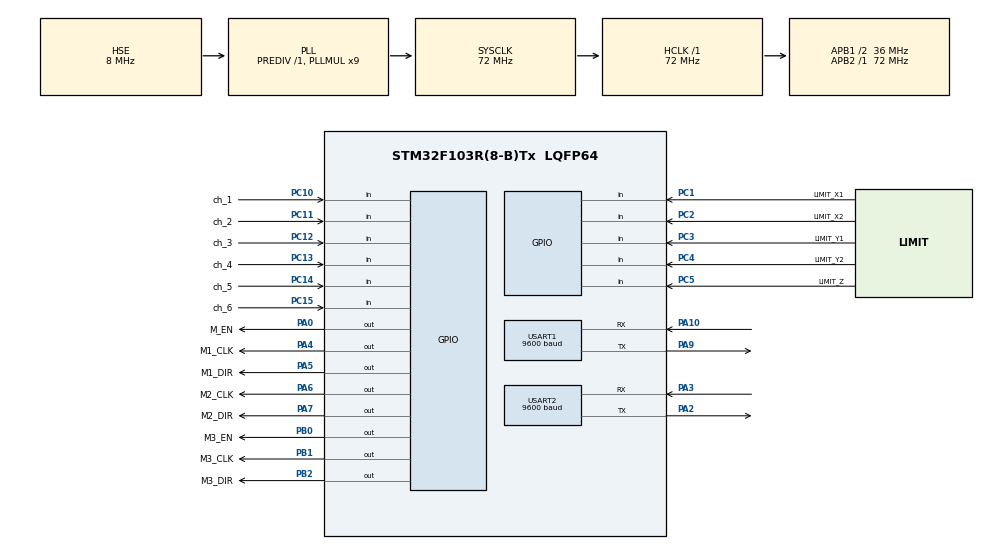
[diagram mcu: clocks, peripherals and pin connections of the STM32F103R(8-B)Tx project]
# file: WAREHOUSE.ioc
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Mcu.Family=STM32F1
Mcu.Name=STM32F103R(8-B)Tx
Mcu.Package=LQFP64
NVIC.PriorityGroup=NVIC_PRIORITYGROUP_4
NVIC.USART1_IRQn=true\:0\:0\:false\:false\:true\:true\:true
NVIC.USART2_IRQn=true\:0\:0\:false\:false\:true\:true\:true
PA0-WKUP.GPIO_Label=M_EN
PA0-WKUP.GPIO_Speed=GPIO_SPEED_FREQ_HIGH
PA0-WKUP.Signal=GPIO_Output
PA10.Mode=Asynchronous
PA10.Signal=USART1_RX
PA13.Mode=Serial_Wire
PA13.Signal=SYS_JTMS-SWDIO
PA14.Mode=Serial_Wire
PA14.Signal=SYS_JTCK-SWCLK
PA2.Mode=Asynchronous
PA2.Signal=USART2_TX
PA3.Mode=Asynchronous
PA3.Signal=USART2_RX
PA4.GPIO_Label=M1_CLK
PA4.GPIO_Speed=GPIO_SPEED_FREQ_HIGH
PA4.Signal=GPIO_Output
PA5.GPIO_Label=M1_DIR
PA5.GPIO_Speed=GPIO_SPEED_FREQ_HIGH
PA5.Signal=GPIO_Output
PA6.GPIO_Label=M2_CLK
PA6.GPIO_Speed=GPIO_SPEED_FREQ_HIGH
PA6.Signal=GPIO_Output
PA7.GPIO_Label=M2_DIR
PA7.GPIO_Speed=GPIO_SPEED_FREQ_HIGH
PA7.Signal=GPIO_Output
PA9.Mode=Asynchronous
PA9.Signal=USART1_TX
PB0.GPIO_Label=M3_EN
PB0.GPIO_Speed=GPIO_SPEED_FREQ_HIGH
PB0.Signal=GPIO_Output
PB1.GPIO_Label=M3_CLK
PB1.GPIO_Speed=GPIO_SPEED_FREQ_HIGH
PB1.Signal=GPIO_Output
PB2.GPIO_Label=M3_DIR
PB2.GPIO_Speed=GPIO_SPEED_FREQ_HIGH
PB2.Signal=GPIO_Output
PC1.GPIO_Label=LIMIT_X1
PC1.GPIO_PuPd=GPIO_PULLUP
PC1.Signal=GPIO_Input
PC10.GPIO_Label=ch_1
PC10.Signal=GPIO_Input
PC11.GPIO_Label=ch_2
PC11.Signal=GPIO_Input
PC12.GPIO_Label=ch_3
PC12.Signal=GPIO_Input
PC13-TAMPER-RTC.GPIO_Label=ch_4
PC13-TAMPER-RTC.Signal=GPIO_Input
PC14-OSC32_IN.GPIO_Label=ch_5
PC14-OSC32_IN.Signal=GPIO_Input
PC15-OSC32_OUT.GPIO_Label=ch_6
PC15-OSC32_OUT.Signal=GPIO_Input
PC2.GPIO_Label=LIMIT_X2
PC2.GPIO_PuPd=GPIO_PULLUP
PC2.Signal=GPIO_Input
PC3.GPIO_Label=LIMIT_Y1
PC3.GPIO_PuPd=GPIO_PULLUP
PC3.Signal=GPIO_Input
PC4.GPIO_Label=LIMIT_Y2
PC4.GPIO_PuPd=GPIO_PULLUP
PC4.Signal=GPIO_Input
PC5.GPIO_Label=LIMIT_Z
PC5.GPIO_PuPd=GPIO_PULLUP
PC5.Signal=GPIO_Input
PD0-OSC_IN.Mode=HSE-External-Oscillator
PD0-OSC_IN.Signal=RCC_OSC_IN
PD1-OSC_OUT.Mode=HSE-External-Oscillator
PD1-OSC_OUT.Signal=RCC_OSC_OUT
ProjectManager.HeapSize=0x200
ProjectManager.StackSize=0x400
ProjectManager.TargetToolchain=TrueSTUDIO
RCC.AHBFreq_Value=72000000
RCC.APB1CLKDivider=RCC_HCLK_DIV2
RCC.APB1Freq_Value=36000000
RCC.APB1TimFreq_Value=72000000
RCC.APB2Freq_Value=72000000
RCC.APB2TimFreq_Value=72000000
RCC.HCLKFreq_Value=72000000
RCC.PLLMUL=RCC_PLL_MUL9
RCC.PLLSourceVirtual=RCC_PLLSOURCE_HSE
RCC.SYSCLKFreq_VALUE=72000000
RCC.SYSCLKSource=RCC_SYSCLKSOURCE_PLLCLK
RCC.USBFreq_Value=72000000
USART1.BaudRate=9600
USART1.VirtualMode=VM_ASYNC
USART2.BaudRate=9600
USART2.VirtualMode=VM_ASYNC
board=custom

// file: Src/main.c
/* USER CODE BEGIN Header */
/**
  ******************************************************************************
  * @file           : main.c
  * @brief          : Main program body
  ******************************************************************************
  * @attention
  *
  * <h2><center>&copy; Copyright (c) 2019 STMicroelectronics.
  * All rights reserved.</center></h2>
  *
  * This software component is licensed by ST under BSD 3-Clause license,
  * the "License"; You may not use this file except in compliance with the
  * License. You may obtain a copy of the License at:
  *                        opensource.org/licenses/BSD-3-Clause
  *
  ******************************************************************************
  */
/* USER CODE END Header */

#include "main.h"
#include "usart.h"
#include "gpio.h"

/* USER CODE BEGIN Includes */
#define my_usart_LIB_en// 조건식 컴파일러

#include "my_lib\my_gpio_lib.h"
#include "my_lib\my_uart_lib.h"

/* USER CODE END Includes */

/* USER CODE BEGIN PD */
#define cw1 1
#define ccw1 0

/* USER CODE END PD */

/* USER CODE BEGIN PV */
unsigned char sensor1,sensor2,sensor3,sensor4,sensor5,sensor6;
unsigned int BI;
unsigned int BI1;
unsigned int BI2;
unsigned char Final_sensor;
unsigned int speed;
char buf = 0;
uint16_t speed_control;
uint16_t step_z;
char x1, x2, y1, y2, z;
uint16_t step_control;
int step;
int cnt123;
uint8_t Bluetooth;

uint8_t lens;
/* USER CODE END PV */

void SystemClock_Config(void);
/* USER CODE BEGIN PFP */

void sensor_check (void)
{
	BI = (0xfc00&(byte_rd_H(GPIOC)));
	BI1 = BI >> 10;
	BI2 = (0x3f & BI1);
	sensor6 = BI2/32%2;
    sensor5 = BI2/16%2;
    sensor4 = BI2/8%2;
    sensor3 = BI2/4%2;
    sensor2 = BI2/2%2;
    sensor1 = BI2%2;
    /*tx("s", 2);
	tx_send(',', 2);
	tx_send(sensor1 + 0x30, 2);       //5번센서
	tx_send(',', 2);
	tx_send(sensor2 + 0x30, 2);       //4번센서
	tx_send(',', 2);
	tx_send(sensor3 + 0x30, 2);       //3번센서
	tx_send(',', 2);
	tx_send(sensor4 + 0x30, 2);       //2번센서
	tx_send(',', 2);
	tx_send(sensor5 + 0x30, 2);       //1번센서
	tx("\r\n", 2);*/

}

void X_go(uint16_t speed_control, uint16_t step_control)// AGV전진 , step_max 몇바퀴 돌껀지 최소 2STEP으로 설정, 약 1mm
{												  // speed_control = 8000 커질수록 느려짐
	int step;

 	 // moter direction
 	out_port(M1_DIR_GPIO_Port,M1_DIR_Pin, cw1); // m1
 	out_port(M2_DIR_GPIO_Port,M2_DIR_Pin, cw1); // m2
 	if(HAL_GPIO_ReadPin(LIMIT_X2_GPIO_Port, LIMIT_X2_Pin) == 1)
 	{
 		for(step=1; step <= step_control; step++)
		{
	      out_port(M1_CLK_GPIO_Port, M1_CLK_Pin, 1);
	      //out_port(M2_CLK_GPIO_Port, M2_CLK_Pin, 1);
	      for(speed =0; speed <= speed_control; speed++) // delay 같은 기능을 한다.
	      {
	    	// delay_loop = 10000 = 대략 = 1ms
	    	// 최소 값 = 1250 = 대략 125us
	        asm("nop");
	      }
	      out_port(M1_CLK_GPIO_Port, M1_CLK_Pin, 0);
	      //out_port(M2_CLK_GPIO_Port, M2_CLK_Pin, 0);
	      // delay_ms(1);
	      for(speed =0; speed <= speed_control; speed++)
	       {
	         asm("nop");
	       }
		}
 	}
}
void Y_go(uint16_t speed_control, uint16_t step_control)// AGV전진 , step_max 몇바퀴 돌껀지 최소 2STEP으로 설정, 약 1mm
{												  // speed_control = 8000 커질수록 느려짐
	int step;

 	 // moter direction
 	out_port(M1_DIR_GPIO_Port,M1_DIR_Pin, cw1); // m1
 	out_port(M2_DIR_GPIO_Port,M2_DIR_Pin, cw1); // m2
 	//if(HAL_GPIO_ReadPin(LIMIT_Y1_GPIO_Port, LIMIT_Y1_Pin) == 1)
 	//{
 		for(step=1; step <= step_control; step++)
		{
	      //out_port(M1_CLK_GPIO_Port, M1_CLK_Pin, 1);
	      out_port(M2_CLK_GPIO_Port, M2_CLK_Pin, 1);
	      for(speed =0; speed <= speed_control; speed++) // delay 같은 기능을 한다.
	      {
	    	// delay_loop = 10000 = 대략 = 1ms
	    	// 최소 값 = 1250 = 대략 125us
	        asm("nop");
	      }
	      //out_port(M1_CLK_GPIO_Port, M1_CLK_Pin, 0);
	      out_port(M2_CLK_GPIO_Port, M2_CLK_Pin, 0);
	      // delay_ms(1);
	      for(speed =0; speed <= speed_control; speed++)
	       {
	         asm("nop");
	       }
		}
 	//}
}
void Z_go(uint16_t speed_control, uint16_t step_control)// AGV전진 , step_max 몇바퀴 돌껀지 최소 2STEP으로 설정, 약 1mm
{												  // speed_control = 8000 커질수록 느려짐
	int step;

 	 // moter direction
 	out_port(M3_DIR_GPIO_Port,M3_DIR_Pin, cw1); // m1
 	//out_port(M2_DIR_GPIO_Port,M2_DIR_Pin, cw1); // m2

 		for(step=1; step <= step_control; step++)
		{
	      out_port(M3_CLK_GPIO_Port, M3_CLK_Pin, 1);
	      for(speed =0; speed <= speed_control; speed++) // delay 같은 기능을 한다.
	      {
	    	// delay_loop = 10000 = 대략 = 1ms
	    	// 최소 값 = 1250 = 대략 125us
	        asm("nop");
	      }
	      out_port(M3_CLK_GPIO_Port, M3_CLK_Pin, 0);
	      for(speed =0; speed <= speed_control; speed++)
	       {
	         asm("nop");
	       }
		}

}

void X_back(uint16_t speed_control, uint16_t step_control)// AGV후진 , step_max 몇바퀴 돌껀지 최소 2STEP으로 설정, 약 1mm
{												  // speed_control = 8000 커질수록 느려짐
	int step;

 	 // moter direction
 	out_port(M1_DIR_GPIO_Port, M1_DIR_Pin, ccw1); // m1
 	out_port(M2_DIR_GPIO_Port, M2_DIR_Pin, ccw1); // m2
 	if(HAL_GPIO_ReadPin(LIMIT_X1_GPIO_Port, LIMIT_X1_Pin) == 1)
 	{
 		for(step=1; step <= step_control; step++)
		{
	      out_port(M1_CLK_GPIO_Port, M1_CLK_Pin, 1);
	      //out_port(M2_CLK_GPIO_Port, M2_CLK_Pin, 1);
	      for(speed =0; speed <= speed_control; speed++) // delay 같은 기능을 한다.
	      {
	    	// delay_loop = 10000 = 대략 = 1ms
	    	// 최소 값 = 1250 = 대략 125us
	        asm("nop");
	      }
	      out_port(M1_CLK_GPIO_Port, M1_CLK_Pin, 0);
	      //out_port(M2_CLK_GPIO_Port, M2_CLK_Pin, 0);
	      // delay_ms(1);
	      for(speed =0; speed <= speed_control; speed++)
	       {
	         asm("nop");
	       }
		}
 	}
}

void Y_back(uint16_t speed_control, uint16_t step_control)// AGV후진 , step_max 몇바퀴 돌껀지 최소 2STEP으로 설정, 약 1mm
{												  // speed_control = 8000 커질수록 느려짐
	int step;

 	 // moter direction
 	out_port(M1_DIR_GPIO_Port, M1_DIR_Pin, ccw1); // m1
 	out_port(M2_DIR_GPIO_Port, M2_DIR_Pin, ccw1); // m2
 	//if(HAL_GPIO_ReadPin(LIMIT_Y2_GPIO_Port, LIMIT_Y2_Pin) == 1)
 	//{
 		for(step=1; step <= step_control; step++)
		{
	      //out_port(M1_CLK_GPIO_Port, M1_CLK_Pin, 1);
	      out_port(M2_CLK_GPIO_Port, M2_CLK_Pin, 1);

	    	  for(speed =0; speed <= speed_control; speed++) // delay 같은 기능을 한다.
	    	  {
	    		  // delay_loop = 10000 = 대략 = 1ms
	    		  // 최소 값 = 1250 = 대략 125us
	    		  asm("nop");
	    	  }
	    	  //out_port(M1_CLK_GPIO_Port, M1_CLK_Pin, 0);
	    	  out_port(M2_CLK_GPIO_Port, M2_CLK_Pin, 0);
	    	  // delay_ms(1);
	    	  for(speed =0; speed <= speed_control; speed++)
	    	  {
	    		  asm("nop");
	    	  }

		}
 	//}
}
void Z_back(uint16_t speed_control, uint16_t step_control)// AGV후진 , step_max 몇바퀴 돌껀지 최소 2STEP으로 설정, 약 1mm
{												  // speed_control = 8000 커질수록 느려짐
	int step;

 	 // moter direction
 	out_port(M3_DIR_GPIO_Port, M3_DIR_Pin, ccw1); // m1
 	//out_port(M2_DIR_GPIO_Port, M2_DIR_Pin, ccw1); // m2
 	//if(HAL_GPIO_ReadPin(LIMIT_Z_GPIO_Port, LIMIT_Z_Pin) == 1)
 	{
 		for(step=1; step <= step_control; step++) //312
		{
	      out_port(M3_CLK_GPIO_Port, M3_CLK_Pin, 1);
	      for(speed =0; speed <= speed_control; speed++) // delay 같은 기능을 한다.
	      {
	    	// delay_loop = 10000 = 대략 = 1ms
	    	// 최소 값 = 1250 = 대략 125us
	        asm("nop");
	      }
	      out_port(M3_CLK_GPIO_Port, M3_CLK_Pin, 0);
	      for(speed =0; speed <= speed_control; speed++)
	       {
	         asm("nop");
	       }
		}
 	}
}

void Load (void)
{
	Z_go(8000, 11000);
	HAL_Delay(1000);
	Y_go(8000, 7777);
    HAL_Delay(500);
    Z_back(8000, 11000);
    HAL_Delay(1000);
}

void Start_Point(uint16_t speed_control)
{

	int step;

	    //X축 복귀  moter direction
	 	out_port(M1_DIR_GPIO_Port, M1_DIR_Pin, ccw1); // m1 (왼쪽)
	 	out_port(M2_DIR_GPIO_Port, M2_DIR_Pin, cw1);  // m2 (아래쪽)

	 		while(HAL_GPIO_ReadPin(LIMIT_X1_GPIO_Port, LIMIT_X1_Pin) == 1)
	 		{
		      out_port(M1_CLK_GPIO_Port, M1_CLK_Pin, 1);
		      for(speed =0; speed <= speed_control; speed++) // delay 같은 기능을 한다.
		      {
		    	// delay_loop = 10000 = 대략 = 1ms
		    	// 최소 값 = 1250 = 대략 125us
		        asm("nop");
		      }
		      out_port(M1_CLK_GPIO_Port, M1_CLK_Pin, 0);

		      // delay_ms(1);
		      for(speed =0; speed <= speed_control; speed++)
		       {
		         asm("nop");
		       }
	 		}

	 	HAL_Delay(1000); //1초 딜레이

	 /*	out_port(M1_DIR_GPIO_Port, M1_DIR_Pin, cw1); // m1
	 	while(HAL_GPIO_ReadPin(LIMIT_X1_GPIO_Port, LIMIT_X1_Pin) == 0)
	 	{
	 	  out_port(M1_CLK_GPIO_Port, M1_CLK_Pin, 1);
	 	  for(speed =0; speed <= speed_control; speed++) // delay 같은 기능을 한다.
	 	  {
	 		// delay_loop = 10000 = 대략 = 1ms
	 		// 최소 값 = 1250 = 대략 125us
	 		asm("nop");
	 	  }
	      out_port(M1_CLK_GPIO_Port, M1_CLK_Pin, 0);

	 	  // delay_ms(1);
	 	  for(speed =0; speed <= speed_control; speed++)
	 	  {
	 		asm("nop");
	 	  }
	 	}
	 	*/

	 	//Y축 복귀  moter direction
	 	while(HAL_GPIO_ReadPin(LIMIT_Y1_GPIO_Port, LIMIT_Y1_Pin) == 1) //Y축 원점까지 전진
	 	{

	 			out_port(M2_CLK_GPIO_Port, M2_CLK_Pin, 1);
	 			for(speed =0; speed <= speed_control; speed++) // delay 같은 기능을 한다.
	 			{
	 				// delay_loop = 10000 = 대략 = 1ms
	 				// 최소 값 = 1250 = 대략 125us
	 				asm("nop");
	 			}
	 			out_port(M2_CLK_GPIO_Port, M2_CLK_Pin, 0);

	 			// delay_ms(1);
	 			for(speed =0; speed <= speed_control; speed++)
	 			{
	 				asm("nop");
	 			}

	 	}
	 	HAL_Delay(1000); //1초 딜레이
	 	/*out_port(M2_DIR_GPIO_Port, M2_DIR_Pin, ccw1); // m1
	 	while(HAL_GPIO_ReadPin(LIMIT_Y1_GPIO_Port, LIMIT_Y1_Pin) == 0)//
	 	{
	 		 out_port(M2_CLK_GPIO_Port, M2_CLK_Pin, 1);
	 		 for(speed =0; speed <= speed_control; speed++) // delay 같은 기능을 한다.
	 		 {
	 			 // delay_loop = 10000 = 대략 = 1ms
	 			 // 최소 값 = 1250 = 대략 125us
	 			 asm("nop");
	 		 }
	 		 out_port(M2_CLK_GPIO_Port, M2_CLK_Pin, 0);

	 		 // delay_ms(1);
	 		 for(speed =0; speed <= speed_control; speed++)
	 		 {
	 			 asm("nop");
	 		 }
	 	 }
*/
	 	 	//Z축 복귀  moter direction
	 	out_port(M3_DIR_GPIO_Port, M3_DIR_Pin, ccw1); // m1
	 	while(HAL_GPIO_ReadPin(LIMIT_Z_GPIO_Port, LIMIT_Z_Pin) == 1) //Z축 원점까지 전진
	 	{

	 		 	out_port(M3_CLK_GPIO_Port, M3_CLK_Pin, 1);
	 		 	for(speed =0; speed <= speed_control; speed++) // delay 같은 기능을 한다.
	 		 	{
	 		 		// delay_loop = 10000 = 대략 = 1ms
	 		 		// 최소 값 = 1250 = 대략 125us
	 		 		asm("nop");
	 		 	}
	 		 	out_port(M3_CLK_GPIO_Port, M3_CLK_Pin, 0);

	 		 	// delay_ms(1);
	 		 	for(speed =0; speed <= speed_control; speed++)
	 		 	{
	 		 		asm("nop");
	 		 	}

	 	}
	 	HAL_Delay(1000); //1초 딜레이
	 /*	out_port(M3_DIR_GPIO_Port, M3_DIR_Pin, cw1); // m1
	 	while(HAL_GPIO_ReadPin(LIMIT_Z_GPIO_Port, LIMIT_Z_Pin) == 0)
	 	{
	 		out_port(M3_CLK_GPIO_Port, M3_CLK_Pin, 1);
	 		for(speed =0; speed <= speed_control; speed++) // delay 같은 기능을 한다.
	 		{
	 		 	// delay_loop = 10000 = 대략 = 1ms
	 		 	// 최소 값 = 1250 = 대략 125us
	 		 	asm("nop");
	 		}
	 		out_port(M3_CLK_GPIO_Port, M3_CLK_Pin, 0);

	 		// delay_ms(1);
	 		for(speed =0; speed <= speed_control; speed++)
	 		{
	 		 	asm("nop");
	 		}
	 	}
*/
}
void in_out(void)
{
	Y_back(6000,200);
	delay_ms(500);
	Z_go(6000,8000);
	delay_ms(500);
	Y_go(6000,150);
	delay_ms(500);
	Z_back(6000,8000);
	delay_ms(500);

}
void out_in(void)
{
	Z_go(6000,8000);
	delay_ms(500);
	Y_back(6000,500);
	delay_ms(500);
	Z_back(6000,8000);
	delay_ms(500);
	//Y_back(6000,500);
	//delay_ms(500);

}
void ch_1_in(void)
{

	while(HAL_GPIO_ReadPin(LIMIT_X1_GPIO_Port, LIMIT_X1_Pin) == 1)
	{
			X_back(6000,2);
	}
	delay_ms(500);

		Y_back(6000,900);//agv의 위치 조정
		delay_ms(500);
		out_in();
	while(HAL_GPIO_ReadPin(LIMIT_Y1_GPIO_Port, LIMIT_Y1_Pin) == 1)
		{
			Y_go(6000,2);
		}
	while(HAL_GPIO_ReadPin(LIMIT_X2_GPIO_Port, LIMIT_X2_Pin) == 1)
	{
		X_go(6000,2);
	}
	delay_ms(500);
	Y_back(8000,1750);
	delay_ms(500);
	in_out();
	delay_ms(500);
	Start_Point(8000);
	Bluetooth = 'g';
}
void ch_3_in(void)
{

	while(HAL_GPIO_ReadPin(LIMIT_X1_GPIO_Port, LIMIT_X1_Pin) == 1)
	{
			X_back(6000,2);
	}
	delay_ms(500);

		Y_back(6000,500);//agv의 위치 조정
		delay_ms(500);
		out_in();
	while(HAL_GPIO_ReadPin(LIMIT_Y1_GPIO_Port, LIMIT_Y1_Pin) == 1)
		{
			Y_go(6000,2);
		}
		X_go(6000,7440);
	delay_ms(500);
	Y_back(8000,1700);
	delay_ms(500);
	in_out();
	delay_ms(500);
	Start_Point(8000);

}
void ch_5_in(void)
{

	while(HAL_GPIO_ReadPin(LIMIT_X1_GPIO_Port, LIMIT_X1_Pin) == 1)
	{
			X_back(6000,2);
	}
	delay_ms(500);

		Y_back(6000,500);//agv의 위치 조정
		delay_ms(500);
		out_in();
	while(HAL_GPIO_ReadPin(LIMIT_Y1_GPIO_Port, LIMIT_Y1_Pin) == 1)
		{
			Y_go(6000,2);
		}
	X_go(6000,4000);
	delay_ms(500);
	Y_back(8000,1700);
	delay_ms(500);
	in_out();
	delay_ms(500);
	Start_Point(8000);
}
void ch_2_in(void)
{

	while(HAL_GPIO_ReadPin(LIMIT_X1_GPIO_Port, LIMIT_X1_Pin) == 1)
	{
			X_back(6000,2);
	}
	delay_ms(500);

		Y_back(6000,500);//agv의 위치 조정
		delay_ms(500);
		out_in();
	while(HAL_GPIO_ReadPin(LIMIT_Y1_GPIO_Port, LIMIT_Y1_Pin) == 1)
		{
			Y_go(6000,2);
		}
	while(HAL_GPIO_ReadPin(LIMIT_X2_GPIO_Port, LIMIT_X2_Pin) == 1)
	{
		X_go(6000,2);
	}
	delay_ms(500);
	Y_back(8000,200);
	delay_ms(500);
	in_out();
	delay_ms(500);
	Start_Point(8000);
}
void ch_4_in(void)
{

	while(HAL_GPIO_ReadPin(LIMIT_X1_GPIO_Port, LIMIT_X1_Pin) == 1)
	{
			X_back(6000,2);
	}
	delay_ms(500);

		Y_back(6000,500);//agv의 위치 조정
		delay_ms(500);
		out_in();
	while(HAL_GPIO_ReadPin(LIMIT_Y1_GPIO_Port, LIMIT_Y1_Pin) == 1)
		{
			Y_go(6000,2);
		}
		X_go(6000,7440);
	delay_ms(500);
	Y_back(8000,200);
	delay_ms(500);
	in_out();
	delay_ms(500);
	Start_Point(8000);
}
void ch_6_in(void)
{

	while(HAL_GPIO_ReadPin(LIMIT_X1_GPIO_Port, LIMIT_X1_Pin) == 1)
	{
			X_back(6000,2);
	}
	delay_ms(500);

		Y_back(6000,500);//agv의 위치 조정
		delay_ms(500);
		out_in();
	while(HAL_GPIO_ReadPin(LIMIT_Y1_GPIO_Port, LIMIT_Y1_Pin) == 1)
		{
			Y_go(6000,2);
		}
	X_go(6000,4000);
	delay_ms(500);
	Y_back(8000,200);
	delay_ms(500);
	in_out();
	delay_ms(500);
	Start_Point(8000);
}
void ch_1_out(void)
{

	while(HAL_GPIO_ReadPin(LIMIT_X2_GPIO_Port, LIMIT_X2_Pin) == 1)
	{
			X_go(6000,2);
	}
	delay_ms(500);

		Y_back(6000,1750);
		delay_ms(500);
		in_out();
	while(HAL_GPIO_ReadPin(LIMIT_Y1_GPIO_Port, LIMIT_Y1_Pin) == 1)
		{
			Y_go(6000,2);
		}
	while(HAL_GPIO_ReadPin(LIMIT_X1_GPIO_Port, LIMIT_X1_Pin) == 1)
	{
		X_back(6000,2);
	}
	delay_ms(500);
	Y_back(8000,900);//agv의위치
	delay_ms(500);
	out_in();
	delay_ms(500);
	Start_Point(8000);
	Bluetooth = 'g';
}
void ch_3_out(void)
{

		X_go(12000,7440);

		delay_ms(500);

		Y_back(6000,1700);
			delay_ms(500);
			out_in();
		while(HAL_GPIO_ReadPin(LIMIT_Y1_GPIO_Port, LIMIT_Y1_Pin) == 1)
			{
				Y_go(6000,2);
			}
		while(HAL_GPIO_ReadPin(LIMIT_X1_GPIO_Port, LIMIT_X1_Pin) == 1)
		{
			X_back(6000,2);
		}
		delay_ms(500);
		Y_back(8000,800);//agv의위치
		delay_ms(500);
		in_out();
		delay_ms(500);
		Start_Point(8000);
}
void ch_5_out(void)
{

		X_go(12000,4040);

		delay_ms(500);

		Y_back(6000,1700);
			delay_ms(500);
			out_in();
		while(HAL_GPIO_ReadPin(LIMIT_Y1_GPIO_Port, LIMIT_Y1_Pin) == 1)
			{
				Y_go(6000,2);
			}
		while(HAL_GPIO_ReadPin(LIMIT_X1_GPIO_Port, LIMIT_X1_Pin) == 1)
		{
			X_back(6000,2);
		}
		delay_ms(500);
		Y_back(8000,800);//agv의위치
		delay_ms(500);
		in_out();
		delay_ms(500);
		Start_Point(8000);
}
void ch_2_out(void)
{

	while(HAL_GPIO_ReadPin(LIMIT_X2_GPIO_Port, LIMIT_X2_Pin) == 1)
	{
			X_go(6000,2);
	}
	delay_ms(500);

		Y_back(6000,200);
		delay_ms(500);
		in_out();
	while(HAL_GPIO_ReadPin(LIMIT_Y1_GPIO_Port, LIMIT_Y1_Pin) == 1)
		{
			Y_go(6000,2);
		}
	while(HAL_GPIO_ReadPin(LIMIT_X1_GPIO_Port, LIMIT_X1_Pin) == 1)
	{
		X_back(6000,2);
	}
	delay_ms(500);
	Y_back(8000,800);//agv의위치
	delay_ms(500);
	out_in();
	delay_ms(500);
	Start_Point(8000);
}
void ch_4_out(void)
{

		X_go(12000,7440);

		delay_ms(500);

		Y_back(6000,200);
			delay_ms(500);
			out_in();
		while(HAL_GPIO_ReadPin(LIMIT_Y1_GPIO_Port, LIMIT_Y1_Pin) == 1)
			{
				Y_go(6000,2);
			}
		while(HAL_GPIO_ReadPin(LIMIT_X1_GPIO_Port, LIMIT_X1_Pin) == 1)
		{
			X_back(6000,2);
		}
		delay_ms(500);
		Y_back(8000,800);//agv의위치
		delay_ms(500);
		in_out();
		delay_ms(500);
		Start_Point(8000);
}
void ch_6_out(void)
{

		X_go(12000,4040);

		delay_ms(500);

		Y_back(6000,200);
			delay_ms(500);
			out_in();
		while(HAL_GPIO_ReadPin(LIMIT_Y1_GPIO_Port, LIMIT_Y1_Pin) == 1)
			{
				Y_go(6000,2);
			}
		while(HAL_GPIO_ReadPin(LIMIT_X1_GPIO_Port, LIMIT_X1_Pin) == 1)
		{
			X_back(6000,2);
		}
		delay_ms(500);
		Y_back(8000,800);//agv의위치
		delay_ms(500);
		in_out();
		delay_ms(500);
		Start_Point(8000);
}

/*
int ReadBit(GPIO_TypeDef *GPIOx, int pin)
{
	return ((GPIOx -> IDR) & (0x01<<pin)) > 0;
}
*/

/* USER CODE END PFP */

/* USER CODE BEGIN 0 */
int _write(int file, unsigned char* p, int len)
{
  HAL_UART_Transmit(&huart1, p, len, 1);
  return len;
}

// usart RX INT func
void HAL_UART_RxCpltCallback(UART_HandleTypeDef *huart)
{
  if(huart -> Instance == USART1)
   {
	 // uart 1 rx int == pc system
     if(Rx_data_1[0] == CR)
      {
       	rx_end_flag_1 = 1;
       	rx_cnt_1 = 0;
      }
     else
      {
    	Rx_data_1[rx_cnt_1++] = Rx_data_1[0];
      }

      Bluetooth = Rx_data_1[0];
      tx_send(Rx_data_1[0],1);

	  // init flag clr
	   __HAL_UART_CLEAR_PEFLAG(&huart1);

	 // 다시 수신인터럽트 활성화 = 재 장전
	 HAL_UART_Receive_IT(&huart1, (uint8_t *)Rx_data_1, 1);

   } //---------------------------------------------------------
  else if(huart -> Instance == USART2)
   {
	 // uart 2 rx int
	 if(Rx_data_2[0] == CR)
	   {
	  	 rx_end_flag_2 = 1;
	     rx_cnt_2 = 0;
	   }
	 else
	  {
	  	Rx_data_2[rx_cnt_2++] = Rx_data_2[0];
	  }

	  // rx text
	  tx_send(Rx_data_2[0], 2); // echo tx

	  // esp8266 tx
	  tx_send(Rx_data_2[0],1);

	 // init flag clr
	 __HAL_UART_CLEAR_PEFLAG(&huart2);

	 // 다시 수신인터럽트 활성화 = 재 장전 = 동기 맞출려면 main에서 해도 됨 = 응용에 따라서
	 HAL_UART_Receive_IT(&huart2, (uint8_t *)Rx_data_2, 1);
   } //----------------------------------------------------------
  else if(huart -> Instance == USART3)
   {
	 // uart 3 rx int == 온습도, 미세먼지, CO2, VCO 센서

	 // 동기 맞출려고 메인에서 온 함
	 // init flag clr
	// __HAL_UART_CLEAR_PEFLAG(&huart3);

	   // 동기 맞출려고 메인에서 온 함
	 // 다시 수신인터럽트 활성화 = 재 장전
	 //HAL_UART_Receive_IT(&huart3, (uint8_t *)Rx_data_3, 1);
   }
}
/* USER CODE END 0 */

int main(void)
{

  /* MCU Configuration--------------------------------------------------------*/

  /* Reset of all peripherals, Initializes the Flash interface and the Systick. */
  HAL_Init();

  /* Configure the system clock */
  SystemClock_Config();

  /* Initialize all configured peripherals */
  MX_GPIO_Init();
  MX_USART2_UART_Init();
  MX_USART1_UART_Init();
  /* USER CODE BEGIN 2 */
  out_port(M_EN_GPIO_Port,  M_EN_Pin,  1);//stepping motor enable
  out_port(M3_EN_GPIO_Port, M3_EN_Pin, 1);//stepping motor enable

  // \n 필요없이 바로 송신할때 필료 = printf 문 사용 시 = 기본사용
  setvbuf(stdout, NULL, _IONBF, 0);
 // Start_Point(8000);
  // #ifdef my_usart_LIB_en
    // uart rx int 활성화
    HAL_UART_Receive_IT(&huart1, (uint8_t *)Rx_data_1, 2); // uart ch1
    HAL_UART_Receive_IT(&huart2, (uint8_t *)Rx_data_2, 1); // uart ch2
    __HAL_UART_CLEAR_PEFLAG(&huart1);
     Rx_data_1[0] = 0;

    __HAL_UART_CLEAR_PEFLAG(&huart2);
    Rx_data_2[0] = 0;
  /* USER CODE END 2 */

  /* Infinite loop */
  /* USER CODE BEGIN WHILE */
  while (1)
  {
	  //sensor_check();
	  switch(Bluetooth)
	  {
	  case '0':  Start_Point(8000);
	  break;
	  case '1':  ch_1_in(); break;
	  case '2':  ch_2_in(); break;
	  case '3':  ch_3_in(); break;
	  case '4':  ch_4_in(); break;
	  case '5':  ch_5_in(); break;
	  case '6':  ch_6_in(); break;
	  case '7':  ch_1_out(); break;
	  case '8':  ch_2_out(); break;
	  case '9':  ch_3_out(); break;
	  case 'a':  ch_4_out(); break;
	  case 'b':  ch_5_out(); break;
	  case 'c':  ch_6_out(); break;
	  case 'g': break;

	  }
	  delay_ms(1);

    /* USER CODE END WHILE */

  }
}

void SystemClock_Config(void)
{
  RCC_OscInitTypeDef RCC_OscInitStruct = {0};
  RCC_ClkInitTypeDef RCC_ClkInitStruct = {0};

  /** Initializes the CPU, AHB and APB busses clocks
  */
  RCC_OscInitStruct.OscillatorType = RCC_OSCILLATORTYPE_HSE;
  RCC_OscInitStruct.HSEState = RCC_HSE_ON;
  RCC_OscInitStruct.HSEPredivValue = RCC_HSE_PREDIV_DIV1;
  RCC_OscInitStruct.HSIState = RCC_HSI_ON;
  RCC_OscInitStruct.PLL.PLLState = RCC_PLL_ON;
  RCC_OscInitStruct.PLL.PLLSource = RCC_PLLSOURCE_HSE;
  RCC_OscInitStruct.PLL.PLLMUL = RCC_PLL_MUL9;
  if (HAL_RCC_OscConfig(&RCC_OscInitStruct) != HAL_OK)
  {
    Error_Handler();
  }
  /** Initializes the CPU, AHB and APB busses clocks
  */
  RCC_ClkInitStruct.ClockType = RCC_CLOCKTYPE_HCLK|RCC_CLOCKTYPE_SYSCLK
                              |RCC_CLOCKTYPE_PCLK1|RCC_CLOCKTYPE_PCLK2;
  RCC_ClkInitStruct.SYSCLKSource = RCC_SYSCLKSOURCE_PLLCLK;
  RCC_ClkInitStruct.AHBCLKDivider = RCC_SYSCLK_DIV1;
  RCC_ClkInitStruct.APB1CLKDivider = RCC_HCLK_DIV2;
  RCC_ClkInitStruct.APB2CLKDivider = RCC_HCLK_DIV1;

  if (HAL_RCC_ClockConfig(&RCC_ClkInitStruct, FLASH_LATENCY_2) != HAL_OK)
  {
    Error_Handler();
  }
}

void Error_Handler(void)
{
}

/************************ (C) COPYRIGHT STMicroelectronics *****END OF FILE****/
